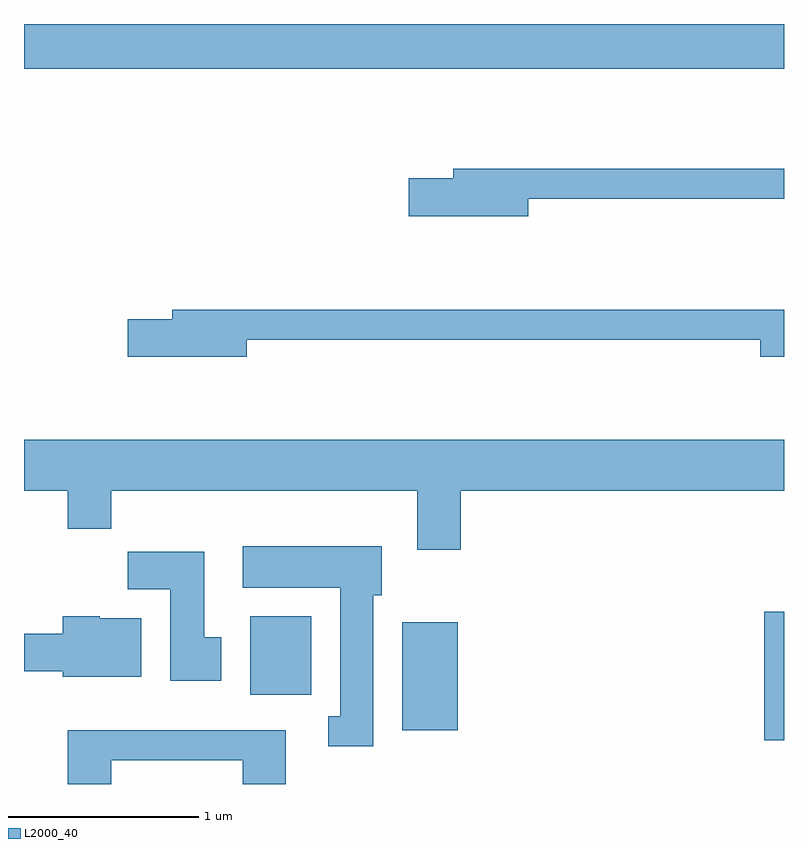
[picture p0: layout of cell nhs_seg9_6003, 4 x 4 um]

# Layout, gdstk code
import gdstk
lib = gdstk.Library(unit=1e-6, precision=1e-09)
def R(c, l, rs):  # rectangles x0, y0, x1, y1
    for r in rs: c.add(gdstk.rectangle(r[:2], r[2:], *l))
def P(c, l, *ps):  # polygons
    for p in ps: c.add(gdstk.Polygon(p, *l))
L2000_40 = (2000, 40)

nhs_seg9_6003 = lib.new_cell('nhs_seg9_6003')
R(nhs_seg9_6003, L2000_40, [(365.506,2052.661,365.611,2053.339), (363.601,2052.716,363.894,2053.284), (362.801,2052.901,363.124,2053.314), (361.611,2056.196,365.611,2056.432)])
P(nhs_seg9_6003, L2000_40, [(364.264,2055.511),(365.611,2055.511),(365.611,2055.669),(363.871,2055.669),(363.871,2055.619),(363.636,2055.619),(363.636,2055.421),(364.264,2055.421)],
  [(362.784,2054.771),(365.486,2054.771),(365.486,2054.681),(365.611,2054.681),(365.611,2054.929),(362.391,2054.929),(362.391,2054.879),(362.156,2054.879),(362.156,2054.681),(362.784,2054.681)],
  [(363.909,2053.976),(365.611,2053.976),(365.611,2054.244),(361.611,2054.244),(361.611,2053.976),(361.841,2053.976),(361.841,2053.776),(362.069,2053.776),(362.069,2053.976),(363.681,2053.976),(363.681,2053.666),(363.909,2053.666)],
  [(363.449,2053.426),(363.494,2053.426),(363.494,2053.684),(362.761,2053.684),(362.761,2053.466),(363.276,2053.466),(363.276,2052.789),(363.213,2052.789),(363.213,2052.631),(363.449,2052.631)],
  [(362.649,2053.204),(362.559,2053.204),(362.559,2053.654),(362.156,2053.654),(362.156,2053.456),(362.381,2053.456),(362.381,2052.976),(362.649,2052.976)],
  [(362.229,2053.304),(362.01,2053.304),(362.01,2053.314),(361.816,2053.314),(361.816,2053.224),(361.611,2053.224),(361.611,2053.026),(361.816,2053.026),(361.816,2052.996),(362.229,2052.996)],
  [(362.069,2052.556),(362.761,2052.556),(362.761,2052.432),(362.989,2052.432),(362.989,2052.714),(361.841,2052.714),(361.841,2052.432),(362.069,2052.432)])

lib.write_gds('nhs_seg9_6003.gds')
